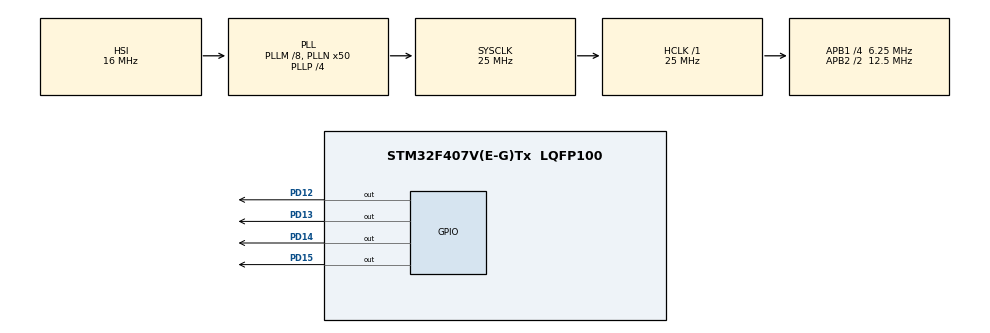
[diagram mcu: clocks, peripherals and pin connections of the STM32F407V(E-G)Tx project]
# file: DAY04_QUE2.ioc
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FREERTOS.INCLUDE_vTaskDelayUntil=1
FREERTOS.Tasks01=defaultTask,-3,128,StartDefaultTask,Default,NULL,Dynamic,NULL,NULL
FREERTOS.configUSE_NEWLIB_REENTRANT=1
Mcu.Family=STM32F4
Mcu.Name=STM32F407V(E-G)Tx
Mcu.Package=LQFP100
NVIC.PriorityGroup=NVIC_PRIORITYGROUP_4
NVIC.TIM1_UP_TIM10_IRQn=true\:15\:0\:false\:false\:true\:false\:false\:true\:true
NVIC.TimeBase=TIM1_UP_TIM10_IRQn
NVIC.TimeBaseIP=TIM1
PD12.Signal=GPIO_Output
PD13.Signal=GPIO_Output
PD14.Signal=GPIO_Output
PD15.Signal=GPIO_Output
ProjectManager.HeapSize=0x200
ProjectManager.StackSize=0x400
ProjectManager.TargetToolchain=STM32CubeIDE
RCC.48MHZClocksFreq_Value=14285714.285714285
RCC.AHBFreq_Value=25000000
RCC.APB1CLKDivider=RCC_HCLK_DIV4
RCC.APB1Freq_Value=6250000
RCC.APB1TimFreq_Value=12500000
RCC.APB2CLKDivider=RCC_HCLK_DIV2
RCC.APB2Freq_Value=12500000
RCC.APB2TimFreq_Value=25000000
RCC.CortexFreq_Value=25000000
RCC.HCLKFreq_Value=25000000
RCC.HSE_VALUE=8000000
RCC.HSI_VALUE=16000000
RCC.LSE_VALUE=32768
RCC.PLLM=8
RCC.PLLN=50
RCC.PLLP=RCC_PLLP_DIV4
RCC.PLLQ=7
RCC.SYSCLKFreq_VALUE=25000000
RCC.SYSCLKSource=RCC_SYSCLKSOURCE_PLLCLK
RCC.VCOOutputFreq_Value=100000000
VP_FREERTOS_VS_CMSIS_V1.Mode=CMSIS_V1
VP_SYS_VS_tim1.Mode=TIM1
board=STM32F407G-DISC1

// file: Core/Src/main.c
/* USER CODE BEGIN Header */
/**
  ******************************************************************************
  * @file           : main.c
  * @brief          : Main program body
  ******************************************************************************
  * @attention
  *
  * Copyright (c) 2024 STMicroelectronics.
  * All rights reserved.
  *
  * This software is licensed under terms that can be found in the LICENSE file
  * in the root directory of this software component.
  * If no LICENSE file comes with this software, it is provided AS-IS.
  *
  ******************************************************************************
  */
/* USER CODE END Header */
#include "main.h"
#include "cmsis_os.h"

osThreadId defaultTaskHandle;

void SystemClock_Config(void);
static void MX_GPIO_Init(void);
void StartDefaultTask(void const * argument);

/* USER CODE BEGIN 0 */
typedef struct param{

	uint16_t pin;
	uint32_t rate;

}par_T;

void vLEDTask(void *pvParam){

	//uint16_t pin = (uint16_t)pvParam;

	par_T *param;
	param = (par_T *)pvParam;

	while(1){

		HAL_GPIO_TogglePin(GPIOD,param->pin);
		vTaskDelay(param->rate/portTICK_RATE_MS);

		}
	vTaskDelete(NULL);

}
/* USER CODE END 0 */

int main(void)
{

  /* USER CODE BEGIN 1 */

	BaseType_t xRet;
	par_T param;

  /* USER CODE END 1 */

  /* MCU Configuration--------------------------------------------------------*/

  /* Reset of all peripherals, Initializes the Flash interface and the Systick. */
  HAL_Init();

  /* Configure the system clock */
  SystemClock_Config();

  /* Initialize all configured peripherals */
  MX_GPIO_Init();

  /* Create the thread(s) */
  /* definition and creation of defaultTask */
  osThreadDef(defaultTask, StartDefaultTask, osPriorityIdle, 0, 128);
  defaultTaskHandle = osThreadCreate(osThread(defaultTask), NULL);

  /* USER CODE BEGIN RTOS_THREADS */
  /* add threads, ... */

  param.pin = GPIO_PIN_12;
  param.rate = 1000;

  xRet = xTaskCreate(vLEDTask,"LED GLOW1", configMINIMAL_STACK_SIZE, &param ,4,NULL);
  if(xRet != pdTRUE)
	  Error_Handler();

  param.pin = GPIO_PIN_13;
  param.rate = 2000;

  xRet = xTaskCreate(vLEDTask,"LED GLOW2", configMINIMAL_STACK_SIZE, &param , 3,NULL);
  if(xRet != pdTRUE)
	  Error_Handler();

  param.pin = GPIO_PIN_14;
  param.rate = 3000;
  xRet = xTaskCreate(vLEDTask,"LED GLOW3", configMINIMAL_STACK_SIZE, &param , 2,NULL);
  if(xRet != pdTRUE)
	  Error_Handler();

  param.pin = GPIO_PIN_15;
  param.rate = 4000;

  xRet = xTaskCreate(vLEDTask,"LED GLOW4", configMINIMAL_STACK_SIZE,&param, 1,NULL);
  if(xRet != pdTRUE)
	  Error_Handler();

  /* USER CODE END RTOS_THREADS */

  /* Start scheduler */
  osKernelStart();

  /* We should never get here as control is now taken by the scheduler */

  /* Infinite loop */
  while (1)
  {

  }
}

void SystemClock_Config(void)
{
  RCC_OscInitTypeDef RCC_OscInitStruct = {0};
  RCC_ClkInitTypeDef RCC_ClkInitStruct = {0};

  /** Configure the main internal regulator output voltage
  */
  __HAL_RCC_PWR_CLK_ENABLE();
  __HAL_PWR_VOLTAGESCALING_CONFIG(PWR_REGULATOR_VOLTAGE_SCALE1);

  /** Initializes the RCC Oscillators according to the specified parameters
  * in the RCC_OscInitTypeDef structure.
  */
  RCC_OscInitStruct.OscillatorType = RCC_OSCILLATORTYPE_HSI;
  RCC_OscInitStruct.HSIState = RCC_HSI_ON;
  RCC_OscInitStruct.HSICalibrationValue = RCC_HSICALIBRATION_DEFAULT;
  RCC_OscInitStruct.PLL.PLLState = RCC_PLL_ON;
  RCC_OscInitStruct.PLL.PLLSource = RCC_PLLSOURCE_HSI;
  RCC_OscInitStruct.PLL.PLLM = 8;
  RCC_OscInitStruct.PLL.PLLN = 50;
  RCC_OscInitStruct.PLL.PLLP = RCC_PLLP_DIV4;
  RCC_OscInitStruct.PLL.PLLQ = 7;
  if (HAL_RCC_OscConfig(&RCC_OscInitStruct) != HAL_OK)
  {
    Error_Handler();
  }

  /** Initializes the CPU, AHB and APB buses clocks
  */
  RCC_ClkInitStruct.ClockType = RCC_CLOCKTYPE_HCLK|RCC_CLOCKTYPE_SYSCLK
                              |RCC_CLOCKTYPE_PCLK1|RCC_CLOCKTYPE_PCLK2;
  RCC_ClkInitStruct.SYSCLKSource = RCC_SYSCLKSOURCE_PLLCLK;
  RCC_ClkInitStruct.AHBCLKDivider = RCC_SYSCLK_DIV1;
  RCC_ClkInitStruct.APB1CLKDivider = RCC_HCLK_DIV4;
  RCC_ClkInitStruct.APB2CLKDivider = RCC_HCLK_DIV2;

  if (HAL_RCC_ClockConfig(&RCC_ClkInitStruct, FLASH_LATENCY_0) != HAL_OK)
  {
    Error_Handler();
  }
}

static void MX_GPIO_Init(void)
{
  GPIO_InitTypeDef GPIO_InitStruct = {0};

  /* GPIO Ports Clock Enable */
  __HAL_RCC_GPIOD_CLK_ENABLE();

  /*Configure GPIO pin Output Level */
  HAL_GPIO_WritePin(GPIOD, GPIO_PIN_12|GPIO_PIN_13|GPIO_PIN_14|GPIO_PIN_15, GPIO_PIN_RESET);

  /*Configure GPIO pins : PD12 PD13 PD14 PD15 */
  GPIO_InitStruct.Pin = GPIO_PIN_12|GPIO_PIN_13|GPIO_PIN_14|GPIO_PIN_15;
  GPIO_InitStruct.Mode = GPIO_MODE_OUTPUT_PP;
  GPIO_InitStruct.Pull = GPIO_NOPULL;
  GPIO_InitStruct.Speed = GPIO_SPEED_FREQ_LOW;
  HAL_GPIO_Init(GPIOD, &GPIO_InitStruct);

}

void StartDefaultTask(void const * argument)
{
  for(;;)
  {
    osDelay(1);
  }
}

void HAL_TIM_PeriodElapsedCallback(TIM_HandleTypeDef *htim)
{
  if (htim->Instance == TIM1) {
    HAL_IncTick();
  }
}

void Error_Handler(void)
{
  __disable_irq();
  while (1)
  {
  }
}
